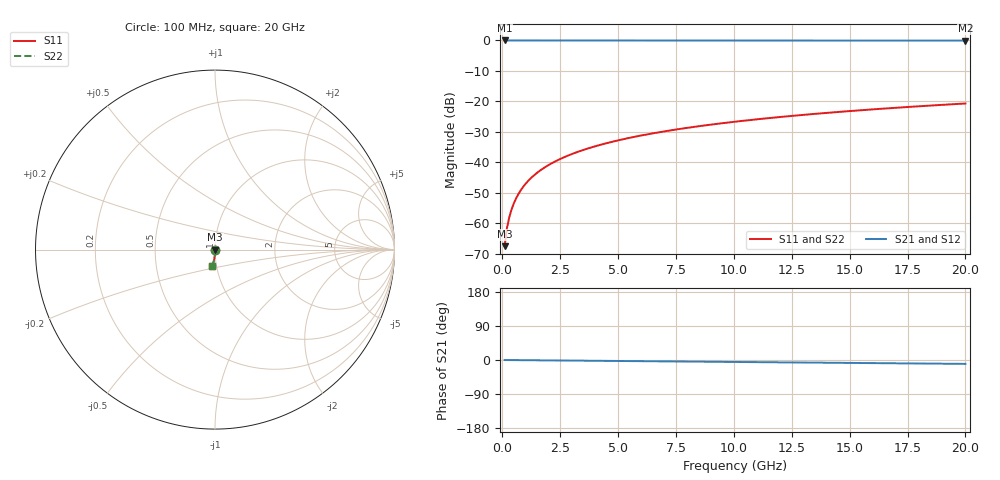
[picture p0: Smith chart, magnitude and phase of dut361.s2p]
! Touchstone file exported from HFSS 2026.1.0
!  File:  C:/ffzhzh/LocalFiles/Ansys_Project_Files/temp_train_TSV_361_1783019336_55676.aedt
!  Generated:  03:10:28 AM Jul  3, 2026
!  Design:  TSV
!  Project:  temp_train_TSV_361_1783019336_55676
! Variables:
!  h_bsmrdl = 2um
!  h_ox = 20um
!  h_rdl = 5um
!  h_sub = 94.59um
!  h_tmrdl = 5um
!  h_tsv = 94.59um
!  h_via = 3um
!  l_bsmrdl = 300um
!  l_sub = 426.36um
!  l_tmrdl = 200um
!  m_sub = 200um
!  pitch = 34.32um
!  r_tsv = 13.18um
!  s_tmrdl = 10um
!  w_bsmrdl = 18um
!  w_sub = 500um
!  w_tmrdl = 12um
!  x_tsv_center1 = 206um
!  x_tsv_center2 = 524um
!  x_tsv_center3 = 736um
!  x_tsv_center4 = 1054um
!  x_tsv_center5 = 1266um
!  x_tsv_center6 = 1584um
# GHz S MA R 50.000000
! Terminal data exported
! Port[1] = TSV1_1_T1
! Port[2] = TSV1_1_T2
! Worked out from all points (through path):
!   200 points, 100 MHz to 20 GHz, reference 50 ohm
!   highest |S21| = 0.00 dB at 100 MHz (marker M1); lowest = -0.1 dB at 20 GHz (marker M2)
!   group delay of S21, straight-line fit = 1.42 ps
!   lowest |S11| = -67.6 dB at 100 MHz (marker M3), VSWR 1.00, Z = 50 - j0.0404 ohm
!   |S11| at or under -10 dB: start of sweep to end of sweep
!   |S22| runs from -67.6 to -20.7 dB; largest |S21 - S12| = 5.4e-15
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0.1  0.0004179 -75.0  0.9999 -0.1  0.9999 -0.1  0.0004179 -75.0
! Gamma 0 0 0 0
! Port Impedance 50 0 50 0
0.2  0.0008233 -81.1  0.9999 -0.1  0.9999 -0.1  0.0008233 -81.1
0.3  0.001243 -82.8  0.9998 -0.2  0.9998 -0.2  0.001243 -82.8
0.4  0.001674 -83.6  0.9998 -0.2  0.9998 -0.2  0.001674 -83.6
0.5  0.002115 -84.1  0.9998 -0.3  0.9998 -0.3  0.002115 -84.1
0.7  0.003017 -84.9  0.9997 -0.4  0.9997 -0.4  0.003017 -84.9
0.8  0.003474 -85.2  0.9997 -0.4  0.9997 -0.4  0.003474 -85.2
1  0.004393 -85.9  0.9996 -0.5  0.9996 -0.5  0.004393 -85.9
1.2  0.005314 -86.4  0.9996 -0.6  0.9996 -0.6  0.005314 -86.4
1.4  0.006236 -86.9  0.9996 -0.7  0.9996 -0.7  0.006236 -86.9
1.7  0.007619 -87.5  0.9995 -0.9  0.9995 -0.9  0.007619 -87.5
2  0.009 -88.0  0.9995 -1.0  0.9995 -1.0  0.009 -88.0
2.7  0.01222 -88.9  0.9994 -1.4  0.9994 -1.4  0.01222 -88.9
3.5  0.01591 -89.6  0.9993 -1.8  0.9993 -1.8  0.01591 -89.6
4.2  0.01914 -90.2  0.9991 -2.2  0.9991 -2.2  0.01914 -90.2
5  0.02285 -90.7  0.999 -2.6  0.999 -2.6  0.02285 -90.7
6.8  0.0312 -91.9  0.9986 -3.5  0.9986 -3.5  0.0312 -91.9
8.3  0.03816 -92.8  0.9983 -4.3  0.9983 -4.3  0.03816 -92.8
10.1  0.04652 -93.9  0.9978 -5.2  0.9978 -5.2  0.04652 -93.9
13.4  0.0618 -95.8  0.9969 -6.9  0.9969 -6.9  0.0618 -95.8
16.7  0.07702 -97.5  0.9957 -8.6  0.9957 -8.6  0.07702 -97.5
20  0.09216 -99.3  0.9942 -10.2  0.9942 -10.2  0.09217 -99.3
